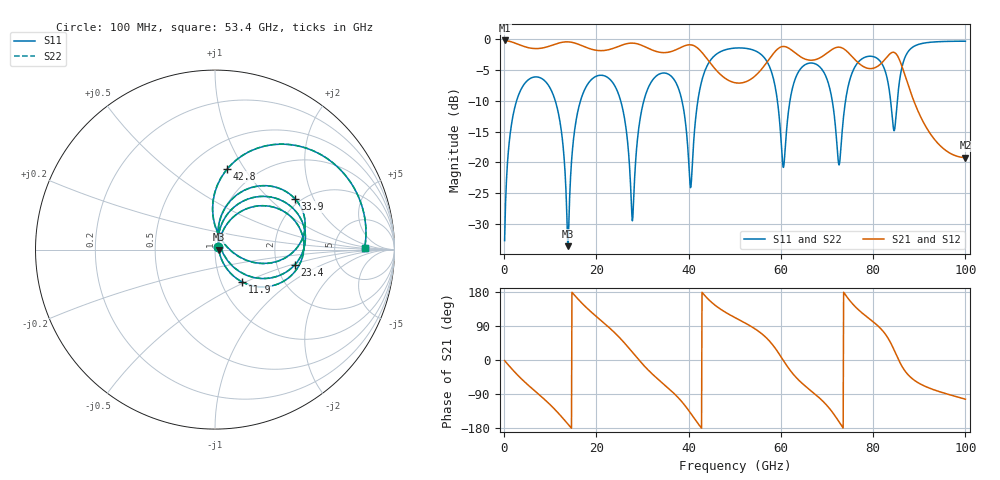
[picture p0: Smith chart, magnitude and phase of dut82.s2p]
! Touchstone file exported from HFSS 2026.1.0
!  File:  C:/ffzhzh/LocalFiles/Ansys_Project_Files/temp_train_TSV_RDL_82_1783629432_33328.aedt
!  Generated:  04:45:34 AM Jul 10, 2026
!  Design:  TSV_RDL
!  Project:  temp_train_TSV_RDL_82_1783629432_33328
! Variables:
!  h_bsmrdl = 4.78um
!  h_ox = 20um
!  h_rdl = 5um
!  h_sub = 80.44um
!  h_tmrdl = 3.24um
!  h_tsv = 80.44um
!  h_via = 3um
!  l_bsmrdl = 583.47um
!  l_sub = 3993.3um
!  l_tmrdl = 428.96um
!  m_sub = 200um
!  pitch = 50.67um
!  r_tsv = 10.89um
!  s_tmrdl = 10um
!  w_bsmrdl = 26.66um
!  w_sub = 500um
!  w_tmrdl = 15.69um
!  x_tsv_center1 = 436.805um
!  x_tsv_center2 = 1046.935um
!  x_tsv_center3 = 1491.585um
!  x_tsv_center4 = 2101.715um
!  x_tsv_center5 = 2546.365um
!  x_tsv_center6 = 3156.495um
# GHz S MA R 50.000000
! Terminal data exported
! Port[1] = TM_RDL1_1_T1
! Port[2] = TM_RDL5_1_T1
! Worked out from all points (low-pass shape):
!   1000 points, 100 MHz to 100 GHz, reference 50 ohm
!   highest |S21| = -0.16 dB at 100 MHz (marker M1); lowest = -19.2 dB at 100 GHz (marker M2)
!   |S21| within 3 dB of the highest: start of sweep to 44 GHz; 67.96 GHz to 75.9 GHz (7.939 GHz wide, 11 % of centre) (the widest 2 of 4)
!   lowest |S11| = -33.6 dB at 13.8 GHz (marker M3), VSWR 1.04, Z = 52.1 - j0.0719 ohm
!   |S11| at or under -10 dB: 11.09 GHz to 16.55 GHz (5.456 GHz wide, 39.5 % of centre); 25.27 GHz to 30.27 GHz (5.003 GHz wide, 18 % of centre); 38.56 GHz to 41.99 GHz (3.427 GHz wide, 8.51 % of centre) (the widest 3 of 7)
!   |S22| runs from -33.8 to -0.3 dB; largest |S21 - S12| = 3.9e-11
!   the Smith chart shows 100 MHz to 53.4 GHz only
!   S11 on the Smith chart (normalised r, x): 100 MHz: 1.04, +0.03; 11.9 GHz: 1.26, -0.48; 23.4 GHz: 2.52, -0.54; 33.9 GHz: 1.87, +1.46; 42.8 GHz: 0.74, +0.84; 53.4 GHz: 11, +1
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0.1  0.02308 37.3  0.9819 -1.5  0.9819 -1.5  0.02308 37.3
! Gamma 0 0 0 0
! Port Impedance 50 0 50 0
3.8  0.4015 36.2  0.8912 -50.4  0.8912 -50.4  0.4015 36.2
11.9  0.2363 -49.9  0.9361 -142.3  0.9361 -142.3  0.2362 -49.9
13.8  0.02081 -1.9  0.9569 -168.7  0.9569 -168.7  0.02049 -1.9
16.8  0.339 56.5  0.8922 150.7  0.8922 150.7  0.339 56.6
23.4  0.453 -10.8  0.8408 78.5  0.8408 78.5  0.453 -10.7
27.8  0.03344 16.4  0.9344 20.5  0.9344 20.5  0.03462 16.6
33.4  0.5176 37.1  0.7915 -51.1  0.7915 -51.1  0.5177 37.0
33.9  0.5282 32.3  0.7852 -56.4  0.7852 -56.4  0.5283 32.2
38.1  0.3694 -9.1  0.8536 -104.2  0.8536 -104.2  0.3693 -9.3
40.4  0.06228 32.5  0.9051 -139.8  0.9051 -139.8  0.06092 32.3
42.8  0.4543 81.3  0.7909 -179.8  0.7909 -179.8  0.4542 81.5
50.1  0.8517 20.4  0.4443 111.5  0.4443 111.5  0.8517 20.5
53.4  0.8335 0.6  0.4729 89.6  0.4729 89.6  0.8336 0.6
58  0.5391 -39.0  0.737 43.3  0.737 43.3  0.5394 -38.9
60.5  0.09109 -5.4  0.8774 -0.5  0.8774 -0.5  0.09197 -5.5
66.7  0.6433 6.7  0.6781 -83.1  0.6781 -83.1  0.6431 6.7
73.4  0.2005 63.5  0.8491 -177.6  0.8491 -177.6  0.2009 63.4
79.3  0.731 17.2  0.5795 107.6  0.5795 107.6  0.7311 17.2
83.4  0.4085 -17.2  0.7489 54.1  0.7489 54.1  0.4082 -17.4
87.2  0.7552 44.1  0.4719 -33.6  0.4719 -33.6  0.7549 44.2
100  0.9679 -13.8  0.1094 -103.4  0.1094 -103.4  0.9679 -13.8
